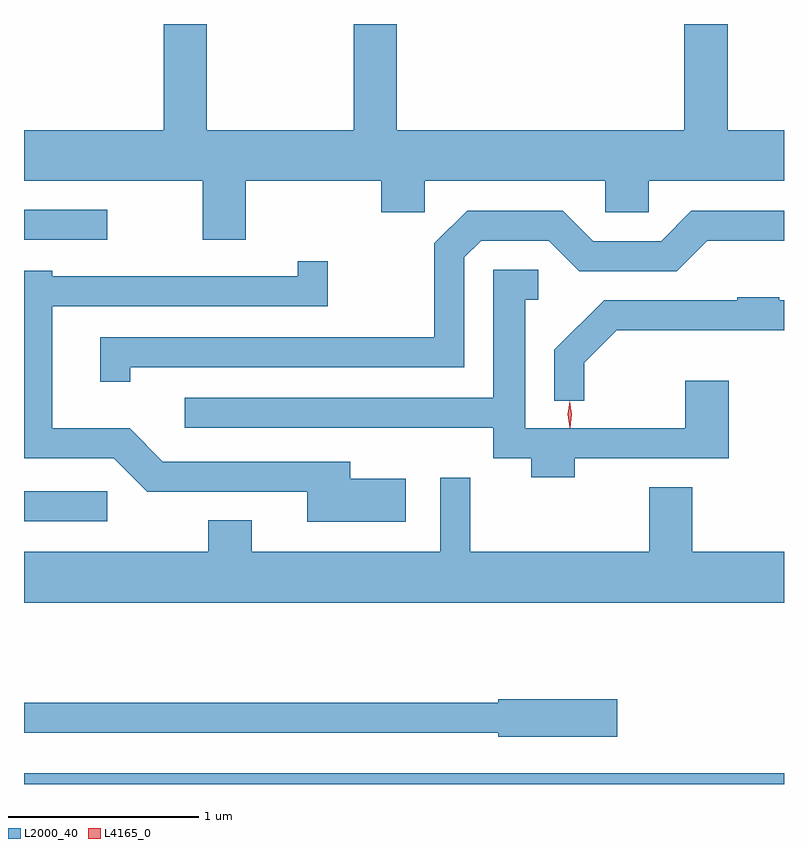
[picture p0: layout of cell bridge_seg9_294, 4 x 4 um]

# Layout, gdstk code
import gdstk
lib = gdstk.Library(unit=1e-6, precision=1e-09)
def R(c, l, rs):  # rectangles x0, y0, x1, y1
    for r in rs: c.add(gdstk.rectangle(r[:2], r[2:], *l))
def P(c, l, *ps):  # polygons
    for p in ps: c.add(gdstk.Polygon(p, *l))
L2000_40 = (2000, 40)
L4165_0 = (4165, 0)

bridge_seg9_294 = lib.new_cell('bridge_seg9_294')
R(bridge_seg9_294, L2000_40, [(989.031,2026.382,993.031,2026.439), (989.031,2027.766,989.468,2027.924), (989.031,2029.246,989.468,2029.404)])
P(bridge_seg9_294, L2000_40, [(990.199,2029.556),(990.911,2029.556),(990.911,2029.391),(991.139,2029.391),(991.139,2029.556),(992.091,2029.556),(992.091,2029.391),(992.319,2029.391),(992.319,2029.556),(993.031,2029.556),(993.031,2029.824),(992.734,2029.824),(992.734,2030.382),(992.506,2030.382),(992.506,2029.824),(990.994,2029.824),(990.994,2030.382),(990.766,2030.382),(990.766,2029.824),(989.994,2029.824),(989.994,2030.382),(989.766,2030.382),(989.766,2029.824),(989.031,2029.824),(989.031,2029.556),(989.971,2029.556),(989.971,2029.246),(990.199,2029.246)],
  [(989.589,2028.576),(991.349,2028.576),(991.349,2029.154),(991.437,2029.241),(991.794,2029.241),(991.954,2029.081),(992.467,2029.081),(992.627,2029.241),(993.031,2029.241),(993.031,2029.399),(992.544,2029.399),(992.384,2029.239),(992.027,2029.239),(991.867,2029.399),(991.364,2029.399),(991.191,2029.227),(991.191,2028.734),(989.431,2028.734),(989.431,2028.498),(989.589,2028.498)],
  [(991.039,2027.989),(990.749,2027.989),(990.749,2028.079),(989.762,2028.079),(989.587,2028.254),(989.179,2028.254),(989.179,2028.896),(990.629,2028.896),(990.629,2029.133),(990.471,2029.133),(990.471,2029.054),(989.179,2029.054),(989.179,2029.084),(989.031,2029.084),(989.031,2028.096),(989.504,2028.096),(989.679,2027.921),(990.521,2027.921),(990.521,2027.761),(991.039,2027.761)],
  [(991.929,2028.096),(992.739,2028.096),(992.739,2028.504),(992.511,2028.504),(992.511,2028.254),(991.669,2028.254),(991.669,2028.931),(991.738,2028.931),(991.738,2029.089),(991.501,2029.089),(991.501,2028.414),(989.878,2028.414),(989.878,2028.256),(991.501,2028.256),(991.501,2028.096),(991.701,2028.096),(991.701,2027.996),(991.929,2027.996)],
  [(991.979,2028.599),(992.152,2028.771),(993.031,2028.771),(993.031,2028.929),(993.005,2028.929),(993.005,2028.944),(992.785,2028.944),(992.785,2028.929),(992.084,2028.929),(991.821,2028.667),(991.821,2028.398),(991.979,2028.398)],
  [(993.031,2027.604),(992.549,2027.604),(992.549,2027.944),(992.321,2027.944),(992.321,2027.604),(991.379,2027.604),(991.379,2027.993),(991.221,2027.993),(991.221,2027.604),(990.229,2027.604),(990.229,2027.769),(990.001,2027.769),(990.001,2027.604),(989.031,2027.604),(989.031,2027.336),(993.031,2027.336)],
  [(992.154,2026.829),(991.526,2026.829),(991.526,2026.809),(989.031,2026.809),(989.031,2026.651),(991.526,2026.651),(991.526,2026.631),(992.154,2026.631)])
P(bridge_seg9_294, L4165_0, [(991.904,2028.257),(991.904,2028.258),(991.894,2028.327),(991.903,2028.396),(991.904,2028.397),(991.904,2028.396),(991.914,2028.327),(991.905,2028.258)])

lib.write_gds('bridge_seg9_294.gds')
